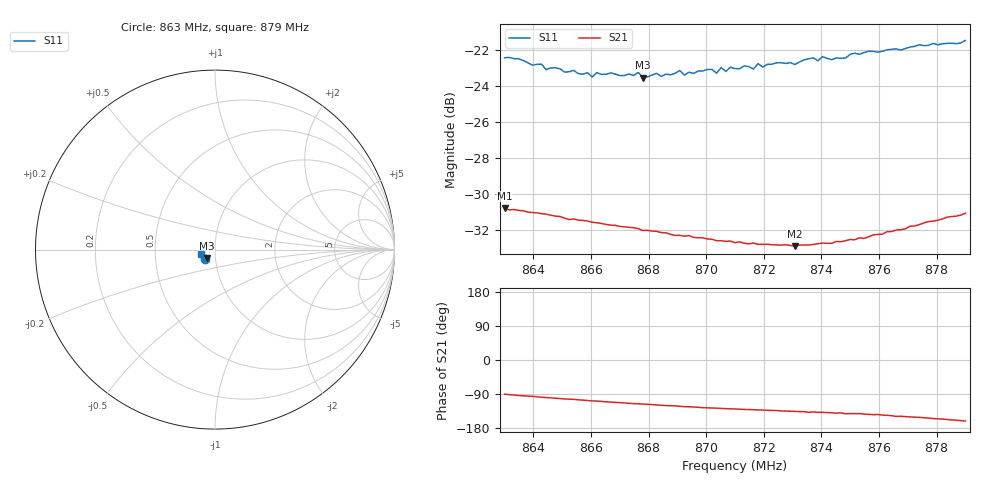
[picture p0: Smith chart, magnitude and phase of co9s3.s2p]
# HZ S RI R 50
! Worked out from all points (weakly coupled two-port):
!   101 points, 863 MHz to 879 MHz, reference 50 ohm
!   highest |S21| = -30.80 dB at 863 MHz (marker M1); lowest = -32.9 dB at 873.08 MHz (marker M2)
!   lowest |S11| = -23.5 dB at 867.8 MHz (marker M3), VSWR 1.14, Z = 45.3 - j4.26 ohm
!   |S11| at or under -10 dB: start of sweep to end of sweep
!   S12 and S22 are empty: the file has one direction only
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8.63e8  -0.0555 -0.0511  -0.000152 -0.0288  0 0  0 0
8.6428e8  -0.0523 -0.0501  -0.00397 -0.0275  0 0  0 0
8.6444e8  -0.0506 -0.0483  -0.00434 -0.0274  0 0  0 0
8.6572e8  -0.048 -0.0481  -0.00732 -0.0256  0 0  0 0
8.6604e8  -0.0476 -0.0468  -0.00809 -0.025  0 0  0 0
8.662e8  -0.0493 -0.0477  -0.00825 -0.0249  0 0  0 0
8.6764e8  -0.0488 -0.0484  -0.0109 -0.0228  0 0  0 0
8.678e8  -0.0472 -0.0468  -0.011 -0.0224  0 0  0 0
8.6828e8  -0.0486 -0.048  -0.0118 -0.0218  0 0  0 0
8.6844e8  -0.048 -0.0466  -0.0121 -0.0214  0 0  0 0
8.6908e8  -0.0506 -0.0477  -0.0128 -0.0205  0 0  0 0
8.6924e8  -0.0489 -0.0465  -0.0132 -0.0201  0 0  0 0
8.71e8  -0.0524 -0.047  -0.0146 -0.0179  0 0  0 0
8.7164e8  -0.0524 -0.0467  -0.0152 -0.0174  0 0  0 0
8.718e8  -0.0549 -0.0476  -0.0152 -0.017  0 0  0 0
8.7196e8  -0.0542 -0.046  -0.0153 -0.0169  0 0  0 0
8.7244e8  -0.0569 -0.0457  -0.0156 -0.0165  0 0  0 0
8.7308e8  -0.0565 -0.045  -0.0161 -0.0158  0 0  0 0
8.7372e8  -0.0603 -0.0452  -0.0167 -0.0155  0 0  0 0
8.7436e8  -0.0608 -0.0432  -0.0174 -0.015  0 0  0 0
8.7644e8  -0.0698 -0.0385  -0.0208 -0.0135  0 0  0 0
8.79e8  -0.0802 -0.0259  -0.0263 -0.00913  0 0  0 0
